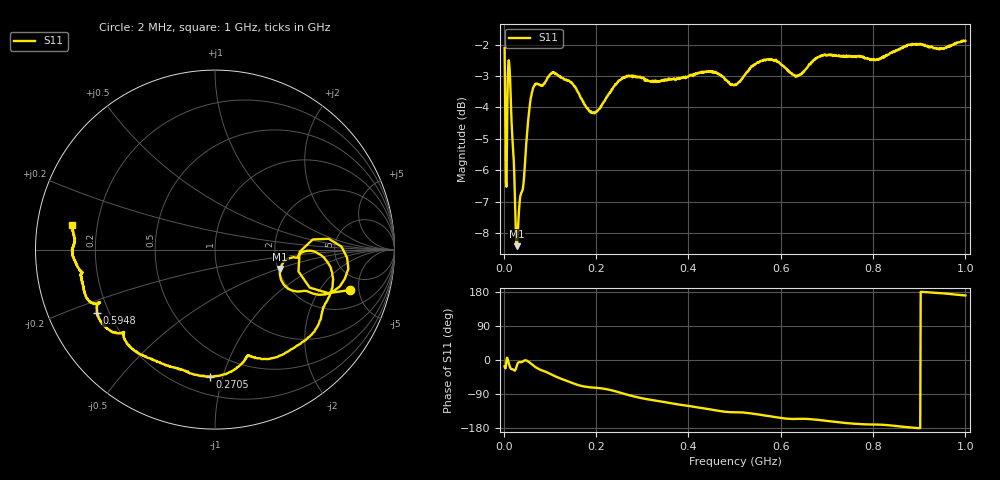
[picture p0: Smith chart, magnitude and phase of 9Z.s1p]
!Keysight Technologies N9923A: A.08.19
!Date: Thursday, 16 January 2020 11:30:00
!TimeZone: (GMT-03:00) Brasilia!Model: N9923A
!Serial: MY51491501
!GPS Latitude:
!GPS Longitude:
!GPS TimeStamp: 0001-01-01 00:00:00Z
!GPS Seconds Since Last Read: 0
!CHECKSUM:1078980270
!Correction: S11(ON U)
!S1P File: Measurement: S11:
# Hz S DB R 50
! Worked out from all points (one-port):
!   1001 points, 2 MHz to 1 GHz, reference 50 ohm
!   lowest |S11| = -8.4 dB at 27.95 MHz (marker M1), VSWR 2.22, Z = 103 - j26 ohm
!   |S11| at or under -10 dB: nowhere
!   S11 on the Smith chart (normalised r, x): 2 MHz: 3.42, -4.00; 270.5 MHz: 0.32, -0.91; 594.8 MHz: 0.15, -0.25; 1 GHz: 0.11, +0.08
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2000000  -2.11 -16.7
6990000  -5.23 5.9
9984000  -2.65 -3.5
1.2978e7  -2.79 -16.5
1.8966e7  -5.01 -24.3
2.2958e7  -6.15 -27.8
2.7948e7  -8.42 -16.6
3.3936e7  -7.13 -5.5
4.7908e7  -5.39 -0.7
6.3876e7  -3.37 -14.0
7.7848e7  -3.28 -25.1
1.00802e8  -2.94 -36.5
1.2675e8  -3.06 -50.6
1.517e8  -3.29 -62.1
1.72658e8  -3.82 -69.7
2.016e8  -4.11 -73.3
2.515e8  -3.13 -86.0
2.70462e8  -2.98 -92.4
3.7625e8  -3.07 -116.9
4.6108e8  -2.91 -133.3
5.01e8  -3.29 -137.8
5.38924e8  -2.67 -141.7
5.94812e8  -2.55 -151.8
6.2575e8  -2.95 -155.6
6.7565e8  -2.45 -157.4
7.505e8  -2.36 -167.2
8.7525e8  -2.00 -177.4
1e9  -1.88 170.4
